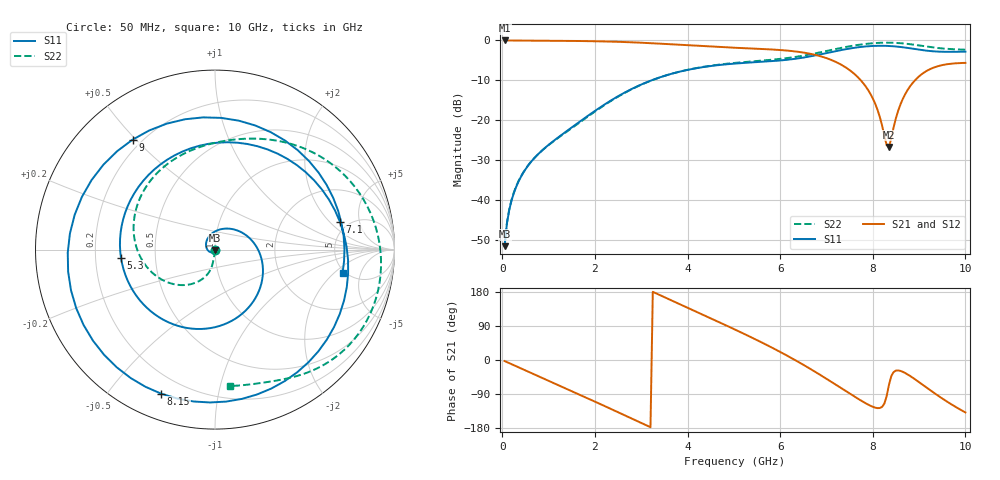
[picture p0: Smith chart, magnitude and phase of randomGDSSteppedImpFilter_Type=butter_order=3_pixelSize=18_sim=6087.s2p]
! freq	dB(S11)	phase(S11)	dB(S12)	phase(S12)
!  dB(S21)	phase(S21)	dB(S22)	phase(S22)
!S-par simulation data
#  GHz  S  DB  R 50
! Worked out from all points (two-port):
!   200 points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, 50 MHz to 10 GHz, reference 50 ohm
!   highest |S21| = -0.01 dB at 50 MHz (marker M1); lowest = -26.7 dB at 8.35 GHz (marker M2)
!   |S21| within 3 dB of the highest: start of sweep to 6.481 GHz
!   lowest |S11| = -51.7 dB at 50 MHz (marker M3), VSWR 1.01, Z = 50 - j0.26 ohm
!   |S11| at or under -10 dB: start of sweep to 3.226 GHz
!   |S22| runs from -51.5 to -0.6 dB; largest |S21 - S12| = 0
!   S11 on the Smith chart (normalised r, x): 50 MHz: 1.00, -0.01; 5.3 GHz: 0.31, -0.04; 7.1 GHz: 4.24, +2.66; 8.15 GHz: 0.11, -0.69; 9 GHz: 0.17, +0.49; 10 GHz: 4.74, -2.59
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0.05  -51.65 -83.2  -0.01 -2.8  -0.01 -2.8  -51.52 -79.1
0.2  -40.17 -107.4  -0.02 -11.0  -0.02 -11.0  -40.01 -90.1
0.45  -33.27 -134.4  -0.04 -24.6  -0.04 -24.6  -33.20 -94.7
1.15  -24.85 151.2  -0.09 -62.7  -0.09 -62.7  -24.95 -98.8
1.75  -19.74 87.9  -0.16 -95.8  -0.16 -95.8  -19.92 -101.1
2.65  -13.05 8.3  -0.40 -146.3  -0.40 -146.3  -13.13 -121.8
3.4  -9.28 -46.6  -0.81 171.4  -0.81 171.4  -9.30 -151.3
4.25  -6.86 -103.1  -1.39 123.9  -1.39 123.9  -6.81 170.7
5.05  -5.78 -156.9  -1.85 78.9  -1.85 78.9  -5.61 134.5
5.3  -5.58 -175.0  -1.98 64.4  -1.98 64.4  -5.36 123.5
5.95  -5.08 131.8  -2.37 24.6  -2.37 24.6  -4.70 96.1
6.7  -3.90 56.8  -3.48 -27.0  -3.48 -27.0  -3.38 65.2
7.1  -2.94 12.5  -4.88 -57.2  -4.88 -57.2  -2.40 47.0
7.55  -1.94 -38.8  -7.90 -92.2  -7.90 -92.2  -1.37 24.0
7.85  -1.51 -73.8  -11.60 -114.4  -11.60 -114.4  -0.87 7.7
8.15  -1.34 -110.5  -19.13 -126.8  -19.13 -126.8  -0.60 -8.8
8.35  -1.39 -136.5  -26.75 -65.3  -26.75 -65.3  -0.57 -19.7
8.7  -1.80 173.7  -13.49 -34.3  -13.49 -34.3  -0.81 -37.8
9  -2.32 126.9  -9.02 -58.5  -9.02 -58.5  -1.26 -51.3
9.25  -2.68 87.3  -7.14 -80.5  -7.14 -80.5  -1.69 -60.6
9.55  -2.86 43.3  -6.08 -105.6  -6.08 -105.6  -2.07 -70.2
10  -2.82 -10.4  -5.64 -138.3  -5.64 -138.3  -2.33 -83.7
